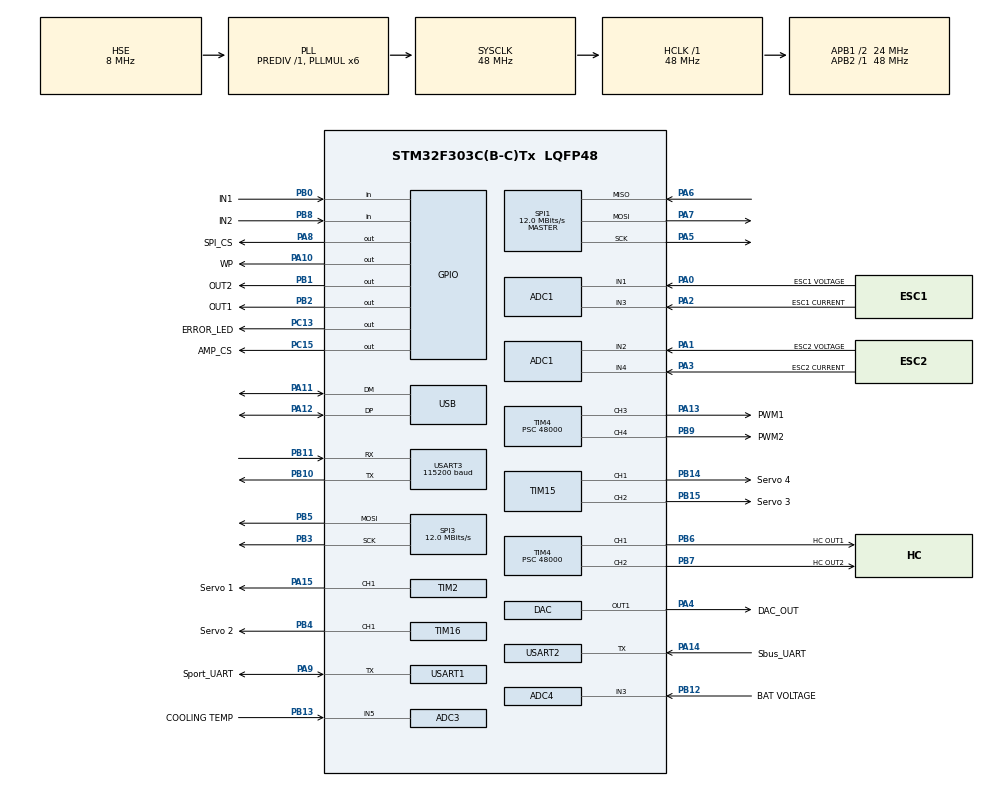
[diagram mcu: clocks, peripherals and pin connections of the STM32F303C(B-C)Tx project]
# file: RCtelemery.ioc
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ADC1.Channel-0\#ChannelRegularConversion=ADC_CHANNEL_4
ADC1.Channel-1\#ChannelRegularConversion=ADC_CHANNEL_1
ADC1.Channel-2\#ChannelRegularConversion=ADC_CHANNEL_1
ADC1.Channel-3\#ChannelRegularConversion=ADC_CHANNEL_1
ADC1.ContinuousConvMode=ENABLE
ADC1.NbrOfConversion=4
ADC1.NbrOfConversionFlag=1
ADC1.Offset-0\#ChannelRegularConversion=0
ADC1.Offset-1\#ChannelRegularConversion=0
ADC1.Offset-2\#ChannelRegularConversion=0
ADC1.Offset-3\#ChannelRegularConversion=0
ADC1.OffsetNumber-0\#ChannelRegularConversion=ADC_OFFSET_NONE
ADC1.OffsetNumber-1\#ChannelRegularConversion=ADC_OFFSET_NONE
ADC1.OffsetNumber-2\#ChannelRegularConversion=ADC_OFFSET_NONE
ADC1.OffsetNumber-3\#ChannelRegularConversion=ADC_OFFSET_NONE
ADC1.Rank-0\#ChannelRegularConversion=1
ADC1.Rank-1\#ChannelRegularConversion=2
ADC1.Rank-2\#ChannelRegularConversion=3
ADC1.Rank-3\#ChannelRegularConversion=4
ADC1.SamplingTime-0\#ChannelRegularConversion=ADC_SAMPLETIME_1CYCLE_5
ADC1.SamplingTime-1\#ChannelRegularConversion=ADC_SAMPLETIME_1CYCLE_5
ADC1.SamplingTime-2\#ChannelRegularConversion=ADC_SAMPLETIME_1CYCLE_5
ADC1.SamplingTime-3\#ChannelRegularConversion=ADC_SAMPLETIME_1CYCLE_5
ADC1.master=1
ADC3.Channel-2\#ChannelRegularConversion=ADC_CHANNEL_5
ADC3.NbrOfConversionFlag=1
ADC3.Offset-2\#ChannelRegularConversion=0
ADC3.OffsetNumber-2\#ChannelRegularConversion=ADC_OFFSET_NONE
ADC3.Rank-2\#ChannelRegularConversion=1
ADC3.SamplingTime-2\#ChannelRegularConversion=ADC_SAMPLETIME_1CYCLE_5
ADC3.master=1
ADC4.Channel-0\#ChannelRegularConversion=ADC_CHANNEL_3
ADC4.NbrOfConversionFlag=1
ADC4.Offset-0\#ChannelRegularConversion=0
ADC4.OffsetNumber-0\#ChannelRegularConversion=ADC_OFFSET_NONE
ADC4.Rank-0\#ChannelRegularConversion=1
ADC4.SamplingTime-0\#ChannelRegularConversion=ADC_SAMPLETIME_1CYCLE_5
DAC.DAC_OutputBuffer=DAC_OUTPUTBUFFER_ENABLE
DAC.DAC_Trigger=DAC_TRIGGER_T6_TRGO
Dma.ADC1.0.Direction=DMA_PERIPH_TO_MEMORY
Dma.ADC1.0.Instance=DMA1_Channel1
Dma.ADC1.0.MemDataAlignment=DMA_MDATAALIGN_HALFWORD
Dma.ADC1.0.MemInc=DMA_MINC_ENABLE
Dma.ADC1.0.Mode=DMA_NORMAL
Dma.ADC1.0.PeriphDataAlignment=DMA_PDATAALIGN_HALFWORD
Dma.ADC1.0.PeriphInc=DMA_PINC_DISABLE
Dma.ADC1.0.Priority=DMA_PRIORITY_HIGH
Dma.ADC3.2.Direction=DMA_PERIPH_TO_MEMORY
Dma.ADC3.2.Instance=DMA2_Channel5
Dma.ADC3.2.MemDataAlignment=DMA_MDATAALIGN_HALFWORD
Dma.ADC3.2.MemInc=DMA_MINC_ENABLE
Dma.ADC3.2.Mode=DMA_NORMAL
Dma.ADC3.2.PeriphDataAlignment=DMA_PDATAALIGN_HALFWORD
Dma.ADC3.2.PeriphInc=DMA_PINC_DISABLE
Dma.ADC3.2.Priority=DMA_PRIORITY_LOW
Dma.DAC_CH1.1.Direction=DMA_MEMORY_TO_PERIPH
Dma.DAC_CH1.1.Instance=DMA1_Channel3
Dma.DAC_CH1.1.MemDataAlignment=DMA_MDATAALIGN_HALFWORD
Dma.DAC_CH1.1.MemInc=DMA_MINC_ENABLE
Dma.DAC_CH1.1.Mode=DMA_CIRCULAR
Dma.DAC_CH1.1.PeriphDataAlignment=DMA_PDATAALIGN_HALFWORD
Dma.DAC_CH1.1.PeriphInc=DMA_PINC_DISABLE
Dma.DAC_CH1.1.Priority=DMA_PRIORITY_MEDIUM
Dma.Request0=ADC1
Dma.Request1=DAC_CH1
Dma.Request2=ADC3
Dma.Request3=USART1_RX
Dma.Request4=USART1_TX
Dma.USART1_RX.3.Direction=DMA_PERIPH_TO_MEMORY
Dma.USART1_RX.3.Instance=DMA1_Channel5
Dma.USART1_RX.3.MemDataAlignment=DMA_MDATAALIGN_BYTE
Dma.USART1_RX.3.MemInc=DMA_MINC_ENABLE
Dma.USART1_RX.3.Mode=DMA_NORMAL
Dma.USART1_RX.3.PeriphDataAlignment=DMA_PDATAALIGN_BYTE
Dma.USART1_RX.3.PeriphInc=DMA_PINC_DISABLE
Dma.USART1_RX.3.Priority=DMA_PRIORITY_LOW
Dma.USART1_TX.4.Direction=DMA_MEMORY_TO_PERIPH
Dma.USART1_TX.4.Instance=DMA1_Channel4
Dma.USART1_TX.4.MemDataAlignment=DMA_MDATAALIGN_BYTE
Dma.USART1_TX.4.MemInc=DMA_MINC_ENABLE
Dma.USART1_TX.4.Mode=DMA_NORMAL
Dma.USART1_TX.4.PeriphDataAlignment=DMA_PDATAALIGN_BYTE
Dma.USART1_TX.4.PeriphInc=DMA_PINC_DISABLE
Dma.USART1_TX.4.Priority=DMA_PRIORITY_LOW
FREERTOS.Queues01=telemetryRequestQueue,6,telemetryMessage,0,Dynamic,NULL,NULL
FREERTOS.Tasks01=defaultTask,0,128,StartDefaultTask,Default,NULL,Dynamic,NULL,NULL;SendTelemetry,2,128,StartSendTelemetry,Default,NULL,Dynamic,NULL,NULL;PowerParser,0,128,StartPower,Default,NULL,Dynamic,NULL,NULL
Mcu.Family=STM32F3
Mcu.Name=STM32F303C(B-C)Tx
Mcu.Package=LQFP48
NVIC.DMA1_Channel1_IRQn=true\:5\:0\:false\:false\:false\:true\:false\:true
NVIC.DMA1_Channel3_IRQn=true\:5\:0\:false\:false\:false\:true\:false\:true
NVIC.DMA1_Channel4_IRQn=true\:5\:0\:false\:false\:true\:true\:false\:true
NVIC.DMA1_Channel5_IRQn=true\:5\:0\:false\:false\:true\:true\:false\:true
NVIC.DMA2_Channel5_IRQn=true\:5\:0\:false\:false\:false\:true\:false\:true
NVIC.PriorityGroup=NVIC_PRIORITYGROUP_4
NVIC.TIM1_TRG_COM_TIM17_IRQn=true\:5\:0\:false\:false\:false\:true\:false\:true
NVIC.TIM7_IRQn=true\:0\:0\:false\:false\:false\:false\:false\:true
NVIC.TimeBase=TIM7_IRQn
NVIC.TimeBaseIP=TIM7
NVIC.USART1_IRQn=true\:5\:0\:false\:false\:true\:true\:true\:true
NVIC.USB_LP_CAN_RX0_IRQn=true\:5\:0\:false\:false\:false\:true\:false\:true
PA0.GPIO_Label=ESC1 VOLTAGE
PA0.Mode=IN1-Single-Ended
PA0.Signal=ADC1_IN1
PA1.GPIO_Label=ESC2 VOLTAGE
PA1.Mode=IN2-Single-Ended
PA1.Signal=ADC1_IN2
PA10.GPIO_Label=WP
PA10.Signal=GPIO_Output
PA11.Mode=Device
PA11.Signal=USB_DM
PA12.Mode=Device
PA12.Signal=USB_DP
PA13.GPIO_Label=PWM1
PA13.Signal=S_TIM4_CH3
PA14.GPIO_Label=Sbus_UART
PA14.Mode=Half_duplex(single_wire_mode)
PA14.Signal=USART2_TX
PA15.GPIO_Label=Servo 1
PA15.Signal=S_TIM2_CH1_ETR
PA2.GPIO_Label=ESC1 CURRENT
PA2.Mode=IN3-Single-Ended
PA2.Signal=ADC1_IN3
PA3.GPIO_Label=ESC2 CURRENT
PA3.Mode=IN4-Single-Ended
PA3.Signal=ADC1_IN4
PA4.GPIO_Label=DAC_OUT
PA4.Signal=COMP_DAC1_group
PA5.Mode=Full_Duplex_Master
PA5.Signal=SPI1_SCK
PA6.Mode=Full_Duplex_Master
PA6.Signal=SPI1_MISO
PA7.Mode=Full_Duplex_Master
PA7.Signal=SPI1_MOSI
PA8.GPIO_Label=SPI_CS
PA8.Signal=GPIO_Output
PA9.GPIO_Label=Sport_UART
PA9.Mode=Half_duplex(single_wire_mode)
PA9.Signal=USART1_TX
PB0.GPIO_Label=IN1
PB0.Signal=GPIO_Input
PB1.GPIO_Label=OUT2
PB1.Signal=GPIO_Output
PB10.Mode=Asynchronous
PB10.Signal=USART3_TX
PB11.Mode=Asynchronous
PB11.Signal=USART3_RX
PB12.GPIO_Label=BAT VOLTAGE
PB12.Mode=IN3-Single-Ended
PB12.Signal=ADC4_IN3
PB13.GPIO_Label=COOLING TEMP
PB13.Mode=IN5-Single-Ended
PB13.Signal=ADC3_IN5
PB14.GPIO_Label=Servo 4
PB14.Signal=S_TIM15_CH1
PB15.GPIO_Label=Servo 3
PB15.Signal=S_TIM15_CH2
PB2.GPIO_Label=OUT1
PB2.Signal=GPIO_Output
PB3.Mode=TX_Only_Simplex_Unidirect_Master
PB3.Signal=SPI3_SCK
PB4.GPIO_Label=Servo 2
PB4.Signal=S_TIM16_CH1
PB5.Mode=TX_Only_Simplex_Unidirect_Master
PB5.Signal=SPI3_MOSI
PB6.GPIO_Label=HC OUT1
PB6.Signal=S_TIM4_CH1
PB7.GPIO_Label=HC OUT2
PB7.Signal=S_TIM4_CH2
PB8.GPIO_Label=IN2
PB8.Signal=GPIO_Input
PB9.GPIO_Label=PWM2
PB9.Signal=S_TIM4_CH4
PC13.GPIO_Label=ERROR_LED
PC13.Signal=GPIO_Output
PC15-OSC32_OUT.GPIO_Label=AMP_CS
PC15-OSC32_OUT.Signal=GPIO_Output
PF0-OSC_IN.Mode=HSE-External-Clock-Source
PF0-OSC_IN.Signal=RCC_OSC_IN
ProjectManager.HeapSize=0x200
ProjectManager.StackSize=0x400
ProjectManager.TargetToolchain=STM32CubeIDE
RCC.AHBFreq_Value=48000000
RCC.APB1CLKDivider=RCC_HCLK_DIV2
RCC.APB1Freq_Value=24000000
RCC.APB1TimFreq_Value=48000000
RCC.APB2Freq_Value=48000000
RCC.APB2TimFreq_Value=48000000
RCC.CortexFreq_Value=48000000
RCC.HCLKFreq_Value=48000000
RCC.HSE_VALUE=8000000
RCC.HSI_VALUE=8000000
RCC.LSE_VALUE=32768
RCC.PLLMUL=RCC_PLL_MUL6
RCC.SYSCLKFreq_VALUE=48000000
RCC.SYSCLKSourceVirtual=RCC_SYSCLKSOURCE_PLLCLK
RCC.USBFreq_Value=48000000
SH.COMP_DAC1_group.0=DAC_OUT1,DAC_OUT1
SH.S_TIM15_CH1.0=TIM15_CH1,Output Compare1 CH1
SH.S_TIM15_CH2.0=TIM15_CH2,Output Compare2 CH2
SH.S_TIM16_CH1.0=TIM16_CH1,Output Compare1 CH1
SH.S_TIM2_CH1_ETR.0=TIM2_CH1,Output Compare1 CH1
SH.S_TIM4_CH1.0=TIM4_CH1,PWM Generation1 CH1
SH.S_TIM4_CH2.0=TIM4_CH2,PWM Generation2 CH2
SH.S_TIM4_CH3.0=TIM4_CH3,PWM Generation3 CH3
SH.S_TIM4_CH4.0=TIM4_CH4,PWM Generation4 CH4
SPI1.BaudRatePrescaler=SPI_BAUDRATEPRESCALER_4
SPI1.CalculateBaudRate=12.0 MBits/s
SPI1.DataSize=SPI_DATASIZE_8BIT
SPI1.Direction=SPI_DIRECTION_2LINES
SPI1.Mode=SPI_MODE_MASTER
SPI1.NSSPMode=SPI_NSS_PULSE_ENABLE
SPI1.VirtualType=VM_MASTER
SPI3.CLKPolarity=SPI_POLARITY_HIGH
SPI3.CalculateBaudRate=12.0 MBits/s
SPI3.DataSize=SPI_DATASIZE_8BIT
SPI3.Direction=SPI_DIRECTION_2LINES
SPI3.Mode=SPI_MODE_MASTER
SPI3.VirtualType=VM_MASTER
TIM15.Channel-Output\ Compare1\ CH1=TIM_CHANNEL_1
TIM15.Channel-Output\ Compare2\ CH2=TIM_CHANNEL_2
TIM16.Channel=TIM_CHANNEL_1
TIM2.AutoReloadPreload=TIM_AUTORELOAD_PRELOAD_DISABLE
TIM2.Channel-Output\ Compare1\ CH1=TIM_CHANNEL_1
TIM2.OCMode_1=TIM_OCMODE_ACTIVE
TIM2.Period=2000
TIM2.Prescaler=24000
TIM2.TIM_MasterOutputTrigger=TIM_TRGO_UPDATE
TIM4.Channel-PWM\ Generation1\ CH1=TIM_CHANNEL_1
TIM4.Channel-PWM\ Generation2\ CH2=TIM_CHANNEL_2
TIM4.Channel-PWM\ Generation3\ CH3=TIM_CHANNEL_3
TIM4.Channel-PWM\ Generation4\ CH4=TIM_CHANNEL_4
TIM4.Prescaler=48000
TIM6.AutoReloadPreload=TIM_AUTORELOAD_PRELOAD_ENABLE
TIM6.Period=64535
TIM6.Prescaler=1
USART1.BaudRate=57600
USART1.DataInvertParam=ADVFEATURE_DATAINV_ENABLE
USART1.Parity=PARITY_EVEN
USART1.RxPinLevelInvertParam=ADVFEATURE_RXINV_ENABLE
USART1.StopBits=STOPBITS_2
USART1.TxPinLevelInvertParam=ADVFEATURE_TXINV_ENABLE
USART1.VirtualMode-Half_duplex(single_wire_mode)=VM_ASYNC
USART2.BaudRate=100000
USART2.DataInvertParam=ADVFEATURE_DATAINV_ENABLE
USART2.Mode=MODE_RX
USART2.Parity=PARITY_EVEN
USART2.RxPinLevelInvertParam=ADVFEATURE_RXINV_ENABLE
USART2.StopBits=STOPBITS_2
USART2.VirtualMode-Half_duplex(single_wire_mode)=VM_ASYNC
USART3.BaudRate=115200
USART3.VirtualMode-Asynchronous=VM_ASYNC
USB_DEVICE.CLASS_NAME_FS=CDC
USB_DEVICE.USBD_SELF_POWERED=0
USB_DEVICE.VirtualMode=Cdc
USB_DEVICE.VirtualModeFS=Cdc_FS
VP_CRC_VS_CRC.Mode=CRC_Activate
VP_FREERTOS_VS_CMSIS_V1.Mode=CMSIS_V1
VP_SYS_VS_tim7.Mode=TIM7
VP_TIM15_VS_ClockSourceINT.Mode=Internal
VP_TIM16_VS_ClockSourceINT.Mode=Enable_Timer
VP_TIM1_VS_ClockSourceINT.Mode=Internal
VP_TIM2_VS_ClockSourceINT.Mode=Internal
VP_TIM3_VS_ClockSourceINT.Mode=Internal
VP_TIM4_VS_ClockSourceINT.Mode=Internal
VP_TIM6_VS_ClockSourceINT.Mode=Enable_Timer
VP_USB_DEVICE_VS_USB_DEVICE_CDC_FS.Mode=CDC_FS
board=custom

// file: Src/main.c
/* USER CODE BEGIN Header */
/**
  ******************************************************************************
  * @file           : main.c
  * @brief          : Main program body
  ******************************************************************************
  * @attention
  *
  * <h2><center>&copy; Copyright (c) 2019 STMicroelectronics.
  * All rights reserved.</center></h2>
  *
  * This software component is licensed by ST under Ultimate Liberty license
  * SLA0044, the "License"; You may not use this file except in compliance with
  * the License. You may obtain a copy of the License at:
  *                             www.st.com/SLA0044
  *
  ******************************************************************************
  */
/* USER CODE END Header */

#include "main.h"
#include "cmsis_os.h"
#include "usb_device.h"

/* USER CODE BEGIN PTD */
typedef struct
{
	char ID;
}telemetryMessage;
typedef struct
{
	float ESC1_powerValue;
	float ESC1_voltageValue;
	float ESC1_currentValue;
	float ESC2_powerValue;
	float ESC2_voltageValue;
	float ESC2_currentValue;
}powerMessage;
/* USER CODE END PTD */

ADC_HandleTypeDef hadc1;
ADC_HandleTypeDef hadc3;
ADC_HandleTypeDef hadc4;
DMA_HandleTypeDef hdma_adc1;
DMA_HandleTypeDef hdma_adc3;

CRC_HandleTypeDef hcrc;

DAC_HandleTypeDef hdac;
DMA_HandleTypeDef hdma_dac_ch1;

SPI_HandleTypeDef hspi1;
SPI_HandleTypeDef hspi3;

TIM_HandleTypeDef htim1;
TIM_HandleTypeDef htim2;
TIM_HandleTypeDef htim3;
TIM_HandleTypeDef htim4;
TIM_HandleTypeDef htim6;
TIM_HandleTypeDef htim15;
TIM_HandleTypeDef htim16;

UART_HandleTypeDef huart1;
UART_HandleTypeDef huart2;
UART_HandleTypeDef huart3;
DMA_HandleTypeDef hdma_usart1_rx;
DMA_HandleTypeDef hdma_usart1_tx;

osThreadId defaultTaskHandle;
osThreadId SendTelemetryHandle;
osThreadId PowerParserHandle;
osMessageQId telemetryRequestQueueHandle;
/* USER CODE BEGIN PV */
uartDriver SportUart;
uint8_t SportTXBuffer[50];
uint8_t SportRXBuffer[50];

uartDriver SbusUart;
uint8_t SbusTXBuffer[50];
uint8_t SbusRXBuffer[50];

SemaphoreHandle_t powerMutex;
QueueHandle_t telemetryQueue;
QueueHandle_t powerQueue;

/* USER CODE END PV */

void SystemClock_Config(void);
static void MX_GPIO_Init(void);
static void MX_DMA_Init(void);
static void MX_ADC1_Init(void);
static void MX_CRC_Init(void);
static void MX_TIM2_Init(void);
static void MX_USART1_UART_Init(void);
static void MX_USART2_UART_Init(void);
static void MX_SPI1_Init(void);
static void MX_TIM3_Init(void);
static void MX_TIM4_Init(void);
static void MX_ADC3_Init(void);
static void MX_ADC4_Init(void);
static void MX_DAC_Init(void);
static void MX_TIM1_Init(void);
static void MX_TIM15_Init(void);
static void MX_USART3_UART_Init(void);
static void MX_TIM6_Init(void);
static void MX_SPI3_Init(void);
static void MX_TIM16_Init(void);
void StartDefaultTask(void const * argument);
void StartSendTelemetry(void const * argument);
void StartPower(void const * argument);

int main(void)
{

  /* MCU Configuration--------------------------------------------------------*/

  /* Reset of all peripherals, Initializes the Flash interface and the Systick. */
  HAL_Init();

  /* Configure the system clock */
  SystemClock_Config();

  /* Initialize all configured peripherals */
  MX_GPIO_Init();
  MX_DMA_Init();
  MX_ADC1_Init();
  MX_CRC_Init();
  MX_TIM2_Init();
  MX_USART1_UART_Init();
  MX_USART2_UART_Init();
  MX_SPI1_Init();
  MX_TIM3_Init();
  MX_TIM4_Init();
  MX_ADC3_Init();
  MX_ADC4_Init();
  MX_DAC_Init();
  MX_TIM1_Init();
  MX_TIM15_Init();
  MX_USART3_UART_Init();
  MX_TIM6_Init();
  MX_SPI3_Init();
  MX_TIM16_Init();
  /* USER CODE BEGIN 2 */
  SportUart = uartDriverInit(SportTXBuffer,50,SportRXBuffer,50,&huart1);
  SbusUart = uartDriverInit(SbusTXBuffer,50,SbusRXBuffer,50,&huart2);
  /* USER CODE END 2 */

  /* USER CODE BEGIN RTOS_MUTEX */
  /* add mutexes, ... */
  powerMutex = xSemaphoreCreateMutex();
  /* USER CODE END RTOS_MUTEX */

  /* Create the queue(s) */
  /* definition and creation of telemetryRequestQueue */
  osMessageQDef(telemetryRequestQueue, 6, telemetryMessage);
  telemetryRequestQueueHandle = osMessageCreate(osMessageQ(telemetryRequestQueue), NULL);

  /* Create the thread(s) */
  /* definition and creation of defaultTask */
  osThreadDef(defaultTask, StartDefaultTask, osPriorityNormal, 0, 128);
  defaultTaskHandle = osThreadCreate(osThread(defaultTask), NULL);

  /* definition and creation of SendTelemetry */
  osThreadDef(SendTelemetry, StartSendTelemetry, osPriorityHigh, 0, 128);
  SendTelemetryHandle = osThreadCreate(osThread(SendTelemetry), NULL);

  /* definition and creation of PowerParser */
  osThreadDef(PowerParser, StartPower, osPriorityNormal, 0, 128);
  PowerParserHandle = osThreadCreate(osThread(PowerParser), NULL);

  /* Start scheduler */
  osKernelStart();

  /* We should never get here as control is now taken by the scheduler */

  /* Infinite loop */
  while (1)
  {

  }
}

void SystemClock_Config(void)
{
  RCC_OscInitTypeDef RCC_OscInitStruct = {0};
  RCC_ClkInitTypeDef RCC_ClkInitStruct = {0};
  RCC_PeriphCLKInitTypeDef PeriphClkInit = {0};

  /** Initializes the CPU, AHB and APB busses clocks
  */
  RCC_OscInitStruct.OscillatorType = RCC_OSCILLATORTYPE_HSE;
  RCC_OscInitStruct.HSEState = RCC_HSE_BYPASS;
  RCC_OscInitStruct.HSEPredivValue = RCC_HSE_PREDIV_DIV1;
  RCC_OscInitStruct.HSIState = RCC_HSI_ON;
  RCC_OscInitStruct.PLL.PLLState = RCC_PLL_ON;
  RCC_OscInitStruct.PLL.PLLSource = RCC_PLLSOURCE_HSE;
  RCC_OscInitStruct.PLL.PLLMUL = RCC_PLL_MUL6;
  if (HAL_RCC_OscConfig(&RCC_OscInitStruct) != HAL_OK)
  {
    Error_Handler();
  }
  /** Initializes the CPU, AHB and APB busses clocks
  */
  RCC_ClkInitStruct.ClockType = RCC_CLOCKTYPE_HCLK|RCC_CLOCKTYPE_SYSCLK
                              |RCC_CLOCKTYPE_PCLK1|RCC_CLOCKTYPE_PCLK2;
  RCC_ClkInitStruct.SYSCLKSource = RCC_SYSCLKSOURCE_PLLCLK;
  RCC_ClkInitStruct.AHBCLKDivider = RCC_SYSCLK_DIV1;
  RCC_ClkInitStruct.APB1CLKDivider = RCC_HCLK_DIV2;
  RCC_ClkInitStruct.APB2CLKDivider = RCC_HCLK_DIV1;

  if (HAL_RCC_ClockConfig(&RCC_ClkInitStruct, FLASH_LATENCY_1) != HAL_OK)
  {
    Error_Handler();
  }
  PeriphClkInit.PeriphClockSelection = RCC_PERIPHCLK_USB|RCC_PERIPHCLK_USART1
                              |RCC_PERIPHCLK_USART2|RCC_PERIPHCLK_USART3
                              |RCC_PERIPHCLK_TIM1|RCC_PERIPHCLK_ADC12
                              |RCC_PERIPHCLK_ADC34;
  PeriphClkInit.Usart1ClockSelection = RCC_USART1CLKSOURCE_PCLK2;
  PeriphClkInit.Usart2ClockSelection = RCC_USART2CLKSOURCE_PCLK1;
  PeriphClkInit.Usart3ClockSelection = RCC_USART3CLKSOURCE_PCLK1;
  PeriphClkInit.Adc12ClockSelection = RCC_ADC12PLLCLK_DIV1;
  PeriphClkInit.Adc34ClockSelection = RCC_ADC34PLLCLK_DIV1;
  PeriphClkInit.USBClockSelection = RCC_USBCLKSOURCE_PLL;
  PeriphClkInit.Tim1ClockSelection = RCC_TIM1CLK_HCLK;
  if (HAL_RCCEx_PeriphCLKConfig(&PeriphClkInit) != HAL_OK)
  {
    Error_Handler();
  }
}

static void MX_ADC1_Init(void)
{

  ADC_MultiModeTypeDef multimode = {0};
  ADC_ChannelConfTypeDef sConfig = {0};

  /** Common config
  */
  hadc1.Instance = ADC1;
  hadc1.Init.ClockPrescaler = ADC_CLOCK_ASYNC_DIV1;
  hadc1.Init.Resolution = ADC_RESOLUTION_12B;
  hadc1.Init.ScanConvMode = ADC_SCAN_ENABLE;
  hadc1.Init.ContinuousConvMode = ENABLE;
  hadc1.Init.DiscontinuousConvMode = DISABLE;
  hadc1.Init.ExternalTrigConvEdge = ADC_EXTERNALTRIGCONVEDGE_NONE;
  hadc1.Init.ExternalTrigConv = ADC_SOFTWARE_START;
  hadc1.Init.DataAlign = ADC_DATAALIGN_RIGHT;
  hadc1.Init.NbrOfConversion = 4;
  hadc1.Init.DMAContinuousRequests = DISABLE;
  hadc1.Init.EOCSelection = ADC_EOC_SINGLE_CONV;
  hadc1.Init.LowPowerAutoWait = DISABLE;
  hadc1.Init.Overrun = ADC_OVR_DATA_OVERWRITTEN;
  if (HAL_ADC_Init(&hadc1) != HAL_OK)
  {
    Error_Handler();
  }
  /** Configure the ADC multi-mode
  */
  multimode.Mode = ADC_MODE_INDEPENDENT;
  if (HAL_ADCEx_MultiModeConfigChannel(&hadc1, &multimode) != HAL_OK)
  {
    Error_Handler();
  }
  /** Configure Regular Channel
  */
  sConfig.Channel = ADC_CHANNEL_4;
  sConfig.Rank = ADC_REGULAR_RANK_1;
  sConfig.SingleDiff = ADC_SINGLE_ENDED;
  sConfig.SamplingTime = ADC_SAMPLETIME_1CYCLE_5;
  sConfig.OffsetNumber = ADC_OFFSET_NONE;
  sConfig.Offset = 0;
  if (HAL_ADC_ConfigChannel(&hadc1, &sConfig) != HAL_OK)
  {
    Error_Handler();
  }
  /** Configure Regular Channel
  */
  sConfig.Channel = ADC_CHANNEL_1;
  sConfig.Rank = ADC_REGULAR_RANK_2;
  if (HAL_ADC_ConfigChannel(&hadc1, &sConfig) != HAL_OK)
  {
    Error_Handler();
  }
  /** Configure Regular Channel
  */
  sConfig.Rank = ADC_REGULAR_RANK_3;
  if (HAL_ADC_ConfigChannel(&hadc1, &sConfig) != HAL_OK)
  {
    Error_Handler();
  }
  /** Configure Regular Channel
  */
  sConfig.Rank = ADC_REGULAR_RANK_4;
  if (HAL_ADC_ConfigChannel(&hadc1, &sConfig) != HAL_OK)
  {
    Error_Handler();
  }

}

static void MX_ADC3_Init(void)
{

  ADC_MultiModeTypeDef multimode = {0};
  ADC_ChannelConfTypeDef sConfig = {0};

  /** Common config
  */
  hadc3.Instance = ADC3;
  hadc3.Init.ClockPrescaler = ADC_CLOCK_ASYNC_DIV1;
  hadc3.Init.Resolution = ADC_RESOLUTION_12B;
  hadc3.Init.ScanConvMode = ADC_SCAN_DISABLE;
  hadc3.Init.ContinuousConvMode = DISABLE;
  hadc3.Init.DiscontinuousConvMode = DISABLE;
  hadc3.Init.ExternalTrigConvEdge = ADC_EXTERNALTRIGCONVEDGE_NONE;
  hadc3.Init.ExternalTrigConv = ADC_SOFTWARE_START;
  hadc3.Init.DataAlign = ADC_DATAALIGN_RIGHT;
  hadc3.Init.NbrOfConversion = 1;
  hadc3.Init.DMAContinuousRequests = DISABLE;
  hadc3.Init.EOCSelection = ADC_EOC_SINGLE_CONV;
  hadc3.Init.LowPowerAutoWait = DISABLE;
  hadc3.Init.Overrun = ADC_OVR_DATA_OVERWRITTEN;
  if (HAL_ADC_Init(&hadc3) != HAL_OK)
  {
    Error_Handler();
  }
  /** Configure the ADC multi-mode
  */
  multimode.Mode = ADC_MODE_INDEPENDENT;
  if (HAL_ADCEx_MultiModeConfigChannel(&hadc3, &multimode) != HAL_OK)
  {
    Error_Handler();
  }
  /** Configure Regular Channel
  */
  sConfig.Channel = ADC_CHANNEL_5;
  sConfig.Rank = ADC_REGULAR_RANK_1;
  sConfig.SingleDiff = ADC_SINGLE_ENDED;
  sConfig.SamplingTime = ADC_SAMPLETIME_1CYCLE_5;
  sConfig.OffsetNumber = ADC_OFFSET_NONE;
  sConfig.Offset = 0;
  if (HAL_ADC_ConfigChannel(&hadc3, &sConfig) != HAL_OK)
  {
    Error_Handler();
  }

}

static void MX_ADC4_Init(void)
{

  ADC_ChannelConfTypeDef sConfig = {0};

  /** Common config
  */
  hadc4.Instance = ADC4;
  hadc4.Init.ClockPrescaler = ADC_CLOCK_ASYNC_DIV1;
  hadc4.Init.Resolution = ADC_RESOLUTION_12B;
  hadc4.Init.ScanConvMode = ADC_SCAN_DISABLE;
  hadc4.Init.ContinuousConvMode = DISABLE;
  hadc4.Init.DiscontinuousConvMode = DISABLE;
  hadc4.Init.ExternalTrigConvEdge = ADC_EXTERNALTRIGCONVEDGE_NONE;
  hadc4.Init.ExternalTrigConv = ADC_SOFTWARE_START;
  hadc4.Init.DataAlign = ADC_DATAALIGN_RIGHT;
  hadc4.Init.NbrOfConversion = 1;
  hadc4.Init.DMAContinuousRequests = DISABLE;
  hadc4.Init.EOCSelection = ADC_EOC_SINGLE_CONV;
  hadc4.Init.LowPowerAutoWait = DISABLE;
  hadc4.Init.Overrun = ADC_OVR_DATA_OVERWRITTEN;
  if (HAL_ADC_Init(&hadc4) != HAL_OK)
  {
    Error_Handler();
  }
  /** Configure Regular Channel
  */
  sConfig.Channel = ADC_CHANNEL_3;
  sConfig.Rank = ADC_REGULAR_RANK_1;
  sConfig.SingleDiff = ADC_SINGLE_ENDED;
  sConfig.SamplingTime = ADC_SAMPLETIME_1CYCLE_5;
  sConfig.OffsetNumber = ADC_OFFSET_NONE;
  sConfig.Offset = 0;
  if (HAL_ADC_ConfigChannel(&hadc4, &sConfig) != HAL_OK)
  {
    Error_Handler();
  }

}

static void MX_CRC_Init(void)
{

  hcrc.Instance = CRC;
  hcrc.Init.DefaultPolynomialUse = DEFAULT_POLYNOMIAL_ENABLE;
  hcrc.Init.DefaultInitValueUse = DEFAULT_INIT_VALUE_ENABLE;
  hcrc.Init.InputDataInversionMode = CRC_INPUTDATA_INVERSION_NONE;
  hcrc.Init.OutputDataInversionMode = CRC_OUTPUTDATA_INVERSION_DISABLE;
  hcrc.InputDataFormat = CRC_INPUTDATA_FORMAT_BYTES;
  if (HAL_CRC_Init(&hcrc) != HAL_OK)
  {
    Error_Handler();
  }

}

static void MX_DAC_Init(void)
{

  DAC_ChannelConfTypeDef sConfig = {0};

  /** DAC Initialization
  */
  hdac.Instance = DAC;
  if (HAL_DAC_Init(&hdac) != HAL_OK)
  {
    Error_Handler();
  }
  /** DAC channel OUT1 config
  */
  sConfig.DAC_Trigger = DAC_TRIGGER_T6_TRGO;
  sConfig.DAC_OutputBuffer = DAC_OUTPUTBUFFER_ENABLE;
  if (HAL_DAC_ConfigChannel(&hdac, &sConfig, DAC_CHANNEL_1) != HAL_OK)
  {
    Error_Handler();
  }

}

static void MX_SPI1_Init(void)
{

  /* SPI1 parameter configuration*/
  hspi1.Instance = SPI1;
  hspi1.Init.Mode = SPI_MODE_MASTER;
  hspi1.Init.Direction = SPI_DIRECTION_2LINES;
  hspi1.Init.DataSize = SPI_DATASIZE_8BIT;
  hspi1.Init.CLKPolarity = SPI_POLARITY_LOW;
  hspi1.Init.CLKPhase = SPI_PHASE_1EDGE;
  hspi1.Init.NSS = SPI_NSS_SOFT;
  hspi1.Init.BaudRatePrescaler = SPI_BAUDRATEPRESCALER_4;
  hspi1.Init.FirstBit = SPI_FIRSTBIT_MSB;
  hspi1.Init.TIMode = SPI_TIMODE_DISABLE;
  hspi1.Init.CRCCalculation = SPI_CRCCALCULATION_DISABLE;
  hspi1.Init.CRCPolynomial = 7;
  hspi1.Init.CRCLength = SPI_CRC_LENGTH_DATASIZE;
  hspi1.Init.NSSPMode = SPI_NSS_PULSE_ENABLE;
  if (HAL_SPI_Init(&hspi1) != HAL_OK)
  {
    Error_Handler();
  }

}

static void MX_SPI3_Init(void)
{

  /* SPI3 parameter configuration*/
  hspi3.Instance = SPI3;
  hspi3.Init.Mode = SPI_MODE_MASTER;
  hspi3.Init.Direction = SPI_DIRECTION_2LINES;
  hspi3.Init.DataSize = SPI_DATASIZE_8BIT;
  hspi3.Init.CLKPolarity = SPI_POLARITY_HIGH;
  hspi3.Init.CLKPhase = SPI_PHASE_1EDGE;
  hspi3.Init.NSS = SPI_NSS_SOFT;
  hspi3.Init.BaudRatePrescaler = SPI_BAUDRATEPRESCALER_2;
  hspi3.Init.FirstBit = SPI_FIRSTBIT_MSB;
  hspi3.Init.TIMode = SPI_TIMODE_DISABLE;
  hspi3.Init.CRCCalculation = SPI_CRCCALCULATION_DISABLE;
  hspi3.Init.CRCPolynomial = 7;
  hspi3.Init.CRCLength = SPI_CRC_LENGTH_DATASIZE;
  hspi3.Init.NSSPMode = SPI_NSS_PULSE_ENABLE;
  if (HAL_SPI_Init(&hspi3) != HAL_OK)
  {
    Error_Handler();
  }

}

static void MX_TIM1_Init(void)
{

  TIM_ClockConfigTypeDef sClockSourceConfig = {0};
  TIM_MasterConfigTypeDef sMasterConfig = {0};

  htim1.Instance = TIM1;
  htim1.Init.Prescaler = 0;
  htim1.Init.CounterMode = TIM_COUNTERMODE_UP;
  htim1.Init.Period = 0;
  htim1.Init.ClockDivision = TIM_CLOCKDIVISION_DIV1;
  htim1.Init.RepetitionCounter = 0;
  htim1.Init.AutoReloadPreload = TIM_AUTORELOAD_PRELOAD_DISABLE;
  if (HAL_TIM_Base_Init(&htim1) != HAL_OK)
  {
    Error_Handler();
  }
  sClockSourceConfig.ClockSource = TIM_CLOCKSOURCE_INTERNAL;
  if (HAL_TIM_ConfigClockSource(&htim1, &sClockSourceConfig) != HAL_OK)
  {
    Error_Handler();
  }
  sMasterConfig.MasterOutputTrigger = TIM_TRGO_RESET;
  sMasterConfig.MasterOutputTrigger2 = TIM_TRGO2_RESET;
  sMasterConfig.MasterSlaveMode = TIM_MASTERSLAVEMODE_DISABLE;
  if (HAL_TIMEx_MasterConfigSynchronization(&htim1, &sMasterConfig) != HAL_OK)
  {
    Error_Handler();
  }

}

static void MX_TIM2_Init(void)
{

  TIM_ClockConfigTypeDef sClockSourceConfig = {0};
  TIM_MasterConfigTypeDef sMasterConfig = {0};
  TIM_OC_InitTypeDef sConfigOC = {0};

  htim2.Instance = TIM2;
  htim2.Init.Prescaler = 24000;
  htim2.Init.CounterMode = TIM_COUNTERMODE_UP;
  htim2.Init.Period = 2000;
  htim2.Init.ClockDivision = TIM_CLOCKDIVISION_DIV1;
  htim2.Init.AutoReloadPreload = TIM_AUTORELOAD_PRELOAD_DISABLE;
  if (HAL_TIM_Base_Init(&htim2) != HAL_OK)
  {
    Error_Handler();
  }
  sClockSourceConfig.ClockSource = TIM_CLOCKSOURCE_INTERNAL;
  if (HAL_TIM_ConfigClockSource(&htim2, &sClockSourceConfig) != HAL_OK)
  {
    Error_Handler();
  }
  if (HAL_TIM_OC_Init(&htim2) != HAL_OK)
  {
    Error_Handler();
  }
  sMasterConfig.MasterOutputTrigger = TIM_TRGO_UPDATE;
  sMasterConfig.MasterSlaveMode = TIM_MASTERSLAVEMODE_DISABLE;
  if (HAL_TIMEx_MasterConfigSynchronization(&htim2, &sMasterConfig) != HAL_OK)
  {
    Error_Handler();
  }
  sConfigOC.OCMode = TIM_OCMODE_ACTIVE;
  sConfigOC.Pulse = 0;
  sConfigOC.OCPolarity = TIM_OCPOLARITY_HIGH;
  sConfigOC.OCFastMode = TIM_OCFAST_DISABLE;
  if (HAL_TIM_OC_ConfigChannel(&htim2, &sConfigOC, TIM_CHANNEL_1) != HAL_OK)
  {
    Error_Handler();
  }
  HAL_TIM_MspPostInit(&htim2);

}

static void MX_TIM3_Init(void)
{

  TIM_ClockConfigTypeDef sClockSourceConfig = {0};
  TIM_MasterConfigTypeDef sMasterConfig = {0};

  htim3.Instance = TIM3;
  htim3.Init.Prescaler = 0;
  htim3.Init.CounterMode = TIM_COUNTERMODE_UP;
  htim3.Init.Period = 0;
  htim3.Init.ClockDivision = TIM_CLOCKDIVISION_DIV1;
  htim3.Init.AutoReloadPreload = TIM_AUTORELOAD_PRELOAD_DISABLE;
  if (HAL_TIM_Base_Init(&htim3) != HAL_OK)
  {
    Error_Handler();
  }
  sClockSourceConfig.ClockSource = TIM_CLOCKSOURCE_INTERNAL;
  if (HAL_TIM_ConfigClockSource(&htim3, &sClockSourceConfig) != HAL_OK)
  {
    Error_Handler();
  }
  sMasterConfig.MasterOutputTrigger = TIM_TRGO_RESET;
  sMasterConfig.MasterSlaveMode = TIM_MASTERSLAVEMODE_DISABLE;
  if (HAL_TIMEx_MasterConfigSynchronization(&htim3, &sMasterConfig) != HAL_OK)
  {
    Error_Handler();
  }

}

static void MX_TIM4_Init(void)
{

  TIM_ClockConfigTypeDef sClockSourceConfig = {0};
  TIM_MasterConfigTypeDef sMasterConfig = {0};
  TIM_OC_InitTypeDef sConfigOC = {0};

  htim4.Instance = TIM4;
  htim4.Init.Prescaler = 48000;
  htim4.Init.CounterMode = TIM_COUNTERMODE_UP;
  htim4.Init.Period = 0;
  htim4.Init.ClockDivision = TIM_CLOCKDIVISION_DIV1;
  htim4.Init.AutoReloadPreload = TIM_AUTORELOAD_PRELOAD_DISABLE;
  if (HAL_TIM_Base_Init(&htim4) != HAL_OK)
  {
    Error_Handler();
  }
  sClockSourceConfig.ClockSource = TIM_CLOCKSOURCE_INTERNAL;
  if (HAL_TIM_ConfigClockSource(&htim4, &sClockSourceConfig) != HAL_OK)
  {
    Error_Handler();
  }
  if (HAL_TIM_PWM_Init(&htim4) != HAL_OK)
  {
    Error_Handler();
  }
  sMasterConfig.MasterOutputTrigger = TIM_TRGO_RESET;
  sMasterConfig.MasterSlaveMode = TIM_MASTERSLAVEMODE_DISABLE;
  if (HAL_TIMEx_MasterConfigSynchronization(&htim4, &sMasterConfig) != HAL_OK)
  {
    Error_Handler();
  }
  sConfigOC.OCMode = TIM_OCMODE_PWM1;
  sConfigOC.Pulse = 0;
  sConfigOC.OCPolarity = TIM_OCPOLARITY_HIGH;
  sConfigOC.OCFastMode = TIM_OCFAST_DISABLE;
  if (HAL_TIM_PWM_ConfigChannel(&htim4, &sConfigOC, TIM_CHANNEL_1) != HAL_OK)
  {
    Error_Handler();
  }
  if (HAL_TIM_PWM_ConfigChannel(&htim4, &sConfigOC, TIM_CHANNEL_2) != HAL_OK)
  {
    Error_Handler();
  }
  if (HAL_TIM_PWM_ConfigChannel(&htim4, &sConfigOC, TIM_CHANNEL_3) != HAL_OK)
  {
    Error_Handler();
  }
  if (HAL_TIM_PWM_ConfigChannel(&htim4, &sConfigOC, TIM_CHANNEL_4) != HAL_OK)
  {
    Error_Handler();
  }
  HAL_TIM_MspPostInit(&htim4);

}

static void MX_TIM6_Init(void)
{

  TIM_MasterConfigTypeDef sMasterConfig = {0};

  htim6.Instance = TIM6;
  htim6.Init.Prescaler = 1;
  htim6.Init.CounterMode = TIM_COUNTERMODE_UP;
  htim6.Init.Period = 64535;
  htim6.Init.AutoReloadPreload = TIM_AUTORELOAD_PRELOAD_ENABLE;
  if (HAL_TIM_Base_Init(&htim6) != HAL_OK)
  {
    Error_Handler();
  }
  sMasterConfig.MasterOutputTrigger = TIM_TRGO_RESET;
  sMasterConfig.MasterSlaveMode = TIM_MASTERSLAVEMODE_DISABLE;
  if (HAL_TIMEx_MasterConfigSynchronization(&htim6, &sMasterConfig) != HAL_OK)
  {
    Error_Handler();
  }

}

static void MX_TIM15_Init(void)
{

  TIM_ClockConfigTypeDef sClockSourceConfig = {0};
  TIM_MasterConfigTypeDef sMasterConfig = {0};
  TIM_OC_InitTypeDef sConfigOC = {0};
  TIM_BreakDeadTimeConfigTypeDef sBreakDeadTimeConfig = {0};

  htim15.Instance = TIM15;
  htim15.Init.Prescaler = 0;
  htim15.Init.CounterMode = TIM_COUNTERMODE_UP;
  htim15.Init.Period = 0;
  htim15.Init.ClockDivision = TIM_CLOCKDIVISION_DIV1;
  htim15.Init.RepetitionCounter = 0;
  htim15.Init.AutoReloadPreload = TIM_AUTORELOAD_PRELOAD_DISABLE;
  if (HAL_TIM_Base_Init(&htim15) != HAL_OK)
  {
    Error_Handler();
  }
  sClockSourceConfig.ClockSource = TIM_CLOCKSOURCE_INTERNAL;
  if (HAL_TIM_ConfigClockSource(&htim15, &sClockSourceConfig) != HAL_OK)
  {
    Error_Handler();
  }
  if (HAL_TIM_OC_Init(&htim15) != HAL_OK)
  {
    Error_Handler();
  }
  sMasterConfig.MasterOutputTrigger = TIM_TRGO_RESET;
  sMasterConfig.MasterSlaveMode = TIM_MASTERSLAVEMODE_DISABLE;
  if (HAL_TIMEx_MasterConfigSynchronization(&htim15, &sMasterConfig) != HAL_OK)
  {
    Error_Handler();
  }
  sConfigOC.OCMode = TIM_OCMODE_TIMING;
  sConfigOC.Pulse = 0;
  sConfigOC.OCPolarity = TIM_OCPOLARITY_HIGH;
  sConfigOC.OCNPolarity = TIM_OCNPOLARITY_HIGH;
  sConfigOC.OCFastMode = TIM_OCFAST_DISABLE;
  sConfigOC.OCIdleState = TIM_OCIDLESTATE_RESET;
  sConfigOC.OCNIdleState = TIM_OCNIDLESTATE_RESET;
  if (HAL_TIM_OC_ConfigChannel(&htim15, &sConfigOC, TIM_CHANNEL_1) != HAL_OK)
  {
    Error_Handler();
  }
  if (HAL_TIM_OC_ConfigChannel(&htim15, &sConfigOC, TIM_CHANNEL_2) != HAL_OK)
  {
    Error_Handler();
  }
  sBreakDeadTimeConfig.OffStateRunMode = TIM_OSSR_DISABLE;
  sBreakDeadTimeConfig.OffStateIDLEMode = TIM_OSSI_DISABLE;
  sBreakDeadTimeConfig.LockLevel = TIM_LOCKLEVEL_OFF;
  sBreakDeadTimeConfig.DeadTime = 0;
  sBreakDeadTimeConfig.BreakState = TIM_BREAK_DISABLE;
  sBreakDeadTimeConfig.BreakPolarity = TIM_BREAKPOLARITY_HIGH;
  sBreakDeadTimeConfig.BreakFilter = 0;
  sBreakDeadTimeConfig.AutomaticOutput = TIM_AUTOMATICOUTPUT_DISABLE;
  if (HAL_TIMEx_ConfigBreakDeadTime(&htim15, &sBreakDeadTimeConfig) != HAL_OK)
  {
    Error_Handler();
  }
  HAL_TIM_MspPostInit(&htim15);

}

static void MX_TIM16_Init(void)
{

  TIM_OC_InitTypeDef sConfigOC = {0};
  TIM_BreakDeadTimeConfigTypeDef sBreakDeadTimeConfig = {0};

  htim16.Instance = TIM16;
  htim16.Init.Prescaler = 0;
  htim16.Init.CounterMode = TIM_COUNTERMODE_UP;
  htim16.Init.Period = 0;
  htim16.Init.ClockDivision = TIM_CLOCKDIVISION_DIV1;
  htim16.Init.RepetitionCounter = 0;
  htim16.Init.AutoReloadPreload = TIM_AUTORELOAD_PRELOAD_DISABLE;
  if (HAL_TIM_Base_Init(&htim16) != HAL_OK)
  {
    Error_Handler();
  }
  if (HAL_TIM_OC_Init(&htim16) != HAL_OK)
  {
    Error_Handler();
  }
  sConfigOC.OCMode = TIM_OCMODE_TIMING;
  sConfigOC.Pulse = 0;
  sConfigOC.OCPolarity = TIM_OCPOLARITY_HIGH;
  sConfigOC.OCNPolarity = TIM_OCNPOLARITY_HIGH;
  sConfigOC.OCFastMode = TIM_OCFAST_DISABLE;
  sConfigOC.OCIdleState = TIM_OCIDLESTATE_RESET;
  sConfigOC.OCNIdleState = TIM_OCNIDLESTATE_RESET;
  if (HAL_TIM_OC_ConfigChannel(&htim16, &sConfigOC, TIM_CHANNEL_1) != HAL_OK)
  {
    Error_Handler();
  }
  sBreakDeadTimeConfig.OffStateRunMode = TIM_OSSR_DISABLE;
  sBreakDeadTimeConfig.OffStateIDLEMode = TIM_OSSI_DISABLE;
  sBreakDeadTimeConfig.LockLevel = TIM_LOCKLEVEL_OFF;
  sBreakDeadTimeConfig.DeadTime = 0;
  sBreakDeadTimeConfig.BreakState = TIM_BREAK_DISABLE;
  sBreakDeadTimeConfig.BreakPolarity = TIM_BREAKPOLARITY_HIGH;
  sBreakDeadTimeConfig.BreakFilter = 0;
  sBreakDeadTimeConfig.AutomaticOutput = TIM_AUTOMATICOUTPUT_DISABLE;
  if (HAL_TIMEx_ConfigBreakDeadTime(&htim16, &sBreakDeadTimeConfig) != HAL_OK)
  {
    Error_Handler();
  }
  HAL_TIM_MspPostInit(&htim16);

}

static void MX_USART1_UART_Init(void)
{

  huart1.Instance = USART1;
  huart1.Init.BaudRate = 57600;
  huart1.Init.WordLength = UART_WORDLENGTH_8B;
  huart1.Init.StopBits = UART_STOPBITS_2;
  huart1.Init.Parity = UART_PARITY_EVEN;
  huart1.Init.Mode = UART_MODE_TX_RX;
  huart1.Init.HwFlowCtl = UART_HWCONTROL_NONE;
  huart1.Init.OverSampling = UART_OVERSAMPLING_16;
  huart1.Init.OneBitSampling = UART_ONE_BIT_SAMPLE_DISABLE;
  huart1.AdvancedInit.AdvFeatureInit = UART_ADVFEATURE_TXINVERT_INIT|UART_ADVFEATURE_RXINVERT_INIT
                              |UART_ADVFEATURE_DATAINVERT_INIT;
  huart1.AdvancedInit.TxPinLevelInvert = UART_ADVFEATURE_TXINV_ENABLE;
  huart1.AdvancedInit.RxPinLevelInvert = UART_ADVFEATURE_RXINV_ENABLE;
  huart1.AdvancedInit.DataInvert = UART_ADVFEATURE_DATAINV_ENABLE;
  if (HAL_HalfDuplex_Init(&huart1) != HAL_OK)
  {
    Error_Handler();
  }

}

static void MX_USART2_UART_Init(void)
{

  huart2.Instance = USART2;
  huart2.Init.BaudRate = 100000;
  huart2.Init.WordLength = UART_WORDLENGTH_8B;
  huart2.Init.StopBits = UART_STOPBITS_2;
  huart2.Init.Parity = UART_PARITY_EVEN;
  huart2.Init.Mode = UART_MODE_RX;
  huart2.Init.HwFlowCtl = UART_HWCONTROL_NONE;
  huart2.Init.OverSampling = UART_OVERSAMPLING_16;
  huart2.Init.OneBitSampling = UART_ONE_BIT_SAMPLE_DISABLE;
  huart2.AdvancedInit.AdvFeatureInit = UART_ADVFEATURE_RXINVERT_INIT|UART_ADVFEATURE_DATAINVERT_INIT;
  huart2.AdvancedInit.RxPinLevelInvert = UART_ADVFEATURE_RXINV_ENABLE;
  huart2.AdvancedInit.DataInvert = UART_ADVFEATURE_DATAINV_ENABLE;
  if (HAL_HalfDuplex_Init(&huart2) != HAL_OK)
  {
    Error_Handler();
  }

}

static void MX_USART3_UART_Init(void)
{

  huart3.Instance = USART3;
  huart3.Init.BaudRate = 115200;
  huart3.Init.WordLength = UART_WORDLENGTH_8B;
  huart3.Init.StopBits = UART_STOPBITS_1;
  huart3.Init.Parity = UART_PARITY_NONE;
  huart3.Init.Mode = UART_MODE_TX_RX;
  huart3.Init.HwFlowCtl = UART_HWCONTROL_NONE;
  huart3.Init.OverSampling = UART_OVERSAMPLING_16;
  huart3.Init.OneBitSampling = UART_ONE_BIT_SAMPLE_DISABLE;
  huart3.AdvancedInit.AdvFeatureInit = UART_ADVFEATURE_NO_INIT;
  if (HAL_UART_Init(&huart3) != HAL_OK)
  {
    Error_Handler();
  }

}

static void MX_DMA_Init(void)
{
  /* DMA controller clock enable */
  __HAL_RCC_DMA1_CLK_ENABLE();
  __HAL_RCC_DMA2_CLK_ENABLE();

  /* DMA interrupt init */
  /* DMA1_Channel1_IRQn interrupt configuration */
  HAL_NVIC_SetPriority(DMA1_Channel1_IRQn, 5, 0);
  HAL_NVIC_EnableIRQ(DMA1_Channel1_IRQn);
  /* DMA1_Channel3_IRQn interrupt configuration */
  HAL_NVIC_SetPriority(DMA1_Channel3_IRQn, 5, 0);
  HAL_NVIC_EnableIRQ(DMA1_Channel3_IRQn);
  /* DMA1_Channel4_IRQn interrupt configuration */
  HAL_NVIC_SetPriority(DMA1_Channel4_IRQn, 5, 0);
  HAL_NVIC_EnableIRQ(DMA1_Channel4_IRQn);
  /* DMA1_Channel5_IRQn interrupt configuration */
  HAL_NVIC_SetPriority(DMA1_Channel5_IRQn, 5, 0);
  HAL_NVIC_EnableIRQ(DMA1_Channel5_IRQn);
  /* DMA2_Channel5_IRQn interrupt configuration */
  HAL_NVIC_SetPriority(DMA2_Channel5_IRQn, 5, 0);
  HAL_NVIC_EnableIRQ(DMA2_Channel5_IRQn);

}

static void MX_GPIO_Init(void)
{
  GPIO_InitTypeDef GPIO_InitStruct = {0};

  /* GPIO Ports Clock Enable */
  __HAL_RCC_GPIOC_CLK_ENABLE();
  __HAL_RCC_GPIOF_CLK_ENABLE();
  __HAL_RCC_GPIOA_CLK_ENABLE();
  __HAL_RCC_GPIOB_CLK_ENABLE();

  /*Configure GPIO pin Output Level */
  HAL_GPIO_WritePin(GPIOC, ERROR_LED_Pin|AMP_CS_Pin, GPIO_PIN_RESET);

  /*Configure GPIO pin Output Level */
  HAL_GPIO_WritePin(GPIOB, OUT2_Pin|OUT1_Pin, GPIO_PIN_RESET);

  /*Configure GPIO pin Output Level */
  HAL_GPIO_WritePin(GPIOA, SPI_CS_Pin|WP_Pin, GPIO_PIN_RESET);

  /*Configure GPIO pins : ERROR_LED_Pin AMP_CS_Pin */
  GPIO_InitStruct.Pin = ERROR_LED_Pin|AMP_CS_Pin;
  GPIO_InitStruct.Mode = GPIO_MODE_OUTPUT_PP;
  GPIO_InitStruct.Pull = GPIO_NOPULL;
  GPIO_InitStruct.Speed = GPIO_SPEED_FREQ_LOW;
  HAL_GPIO_Init(GPIOC, &GPIO_InitStruct);

  /*Configure GPIO pins : IN1_Pin IN2_Pin */
  GPIO_InitStruct.Pin = IN1_Pin|IN2_Pin;
  GPIO_InitStruct.Mode = GPIO_MODE_INPUT;
  GPIO_InitStruct.Pull = GPIO_NOPULL;
  HAL_GPIO_Init(GPIOB, &GPIO_InitStruct);

  /*Configure GPIO pins : OUT2_Pin OUT1_Pin */
  GPIO_InitStruct.Pin = OUT2_Pin|OUT1_Pin;
  GPIO_InitStruct.Mode = GPIO_MODE_OUTPUT_PP;
  GPIO_InitStruct.Pull = GPIO_NOPULL;
  GPIO_InitStruct.Speed = GPIO_SPEED_FREQ_LOW;
  HAL_GPIO_Init(GPIOB, &GPIO_InitStruct);

  /*Configure GPIO pins : SPI_CS_Pin WP_Pin */
  GPIO_InitStruct.Pin = SPI_CS_Pin|WP_Pin;
  GPIO_InitStruct.Mode = GPIO_MODE_OUTPUT_PP;
  GPIO_InitStruct.Pull = GPIO_NOPULL;
  GPIO_InitStruct.Speed = GPIO_SPEED_FREQ_LOW;
  HAL_GPIO_Init(GPIOA, &GPIO_InitStruct);

}

/* USER CODE BEGIN 4 */
#define ADC_samples 8

//Power ADC size definitions
#define powerChannels 4
#define powerBufferSize (ADC_samples*powerChannels)

uint16_t DAC_BUFFER[30];
uint16_t power_ADC_Buffer[powerBufferSize];
uint16_t temp_ADC_Buffer[ADC_samples];
uint16_t batVolt_ADC_Buffer[ADC_samples];
/* USER CODE END 4 */

void StartDefaultTask(void const * argument)
{
  /* init code for USB_DEVICE */
  MX_USB_DEVICE_Init();

  for(;;)
  {
    osDelay(1);
  }
}

void StartSendTelemetry(void const * argument)
{
  /* USER CODE BEGIN StartSendTelemetry */

	telemetryMessage *receivedMessage;
	telemetryQueue = xQueueCreate(10, sizeof(struct telemetryMessage * ));
	osEvent requestEvent;
	if(telemetryRequestQueueHandle == NULL)
	{
		Error_Handler();
	}
	uint8_t sensorBuffer[8];
  /* Infinite loop */
  for(;;)
  {

	requestEvent = osMessageGet(telemetryRequestQueueHandle, osWaitForever);//xQueueReceive(telemetryQueue,&(receivedMessage),portMAX_DELAY);
	receivedMessage = requestEvent.value.p;
	switch(receivedMessage->ID)
	{
		case 0x22:
			/*Send ESC 1 power data*/
			sensorBuffer[0] = 0x32;
			sensorBuffer[1] = (uint8_t)CURR_FIRST_ID;
			sensorBuffer[2] = CURR_FIRST_ID >> 8;
			sensorBuffer[3] = 0;
			break;
		case 0x48:
			/*Send ESC 2 power data*/
			break;
		default:
			break;
	}
	sensorBuffer[7] = HAL_CRC_Calculate(&hcrc, (uint32_t *) sensorBuffer, sizeof(sensorBuffer));

	HAL_UART_Transmit_DMA(&huart1, sensorBuffer, sizeof(sensorBuffer));
	//osDelay(1);
  }
  /* USER CODE END StartSendTelemetry */
}

void StartPower(void const * argument)
{
  /* USER CODE BEGIN StartPower */
	uint16_t measurements[powerChannels];
	#define currentScaling 0.6f
	#define voltageScaling 0.15f
	#define ADC_step (3.3f/4096)
	powerMessage power_new = {};
	float temp = 0.0f;
	powerQueue = xQueueCreate(1,sizeof(struct powerMessage * ));
  /* Infinite loop */
  for(;;)
  {
	 memset((uint32_t*)measurements,0,sizeof(measurements));
	 for(uint8_t ch=0; ch < powerChannels; ch++)
	 {
		 uint32_t temp=0;
		 for(uint8_t buf=ch;buf<(powerBufferSize-ch); buf+=powerChannels)
		 {
			 temp += power_ADC_Buffer[buf];
		 }
		 measurements[ch] = (temp/ADC_samples);
	 }

		 temp = 0.0f;
		 //ESC1 Voltage scaled
		 temp = measurements[0]*ADC_step;
		 temp /= voltageScaling;
		 power_new.ESC1_voltageValue = temp;

		 temp = 0.0f;
		 //ESC2 Voltage scaled
		 temp = measurements[1]*ADC_step;
		 temp /= voltageScaling;
		 power_new.ESC2_voltageValue = temp;

		 temp = 0.0f;
		 //ESC1 Current scaled
		 temp = measurements[2]*ADC_step;
		 temp /= currentScaling;
		 temp -= 0.5f; //Subtract offset value;
		 temp /= 0.04f; //Calculate Amps with formula 40mV/A
		 power_new.ESC1_currentValue = temp;

		 temp = 0.0f;
		 //ESC2 Current scaled
		 temp = measurements[3]*ADC_step;
		 temp /= currentScaling;
		 temp -= 0.5f;
		 temp /= 0.04f;
		 power_new.ESC2_currentValue = temp;

		 power_new.ESC1_powerValue = (power_new.ESC1_currentValue*power_new.ESC1_voltageValue);
		 power_new.ESC2_powerValue = (power_new.ESC2_currentValue*power_new.ESC2_voltageValue);

		 xQueueOverwrite(powerQueue,&power_new);
		 osDelay(100);

  }
  /* USER CODE END StartPower */
}

void HAL_TIM_PeriodElapsedCallback(TIM_HandleTypeDef *htim)
{
  if (htim->Instance == TIM7) {
    HAL_IncTick();
  }
}

void Error_Handler(void)
{
}

/************************ (C) COPYRIGHT STMicroelectronics *****END OF FILE****/
